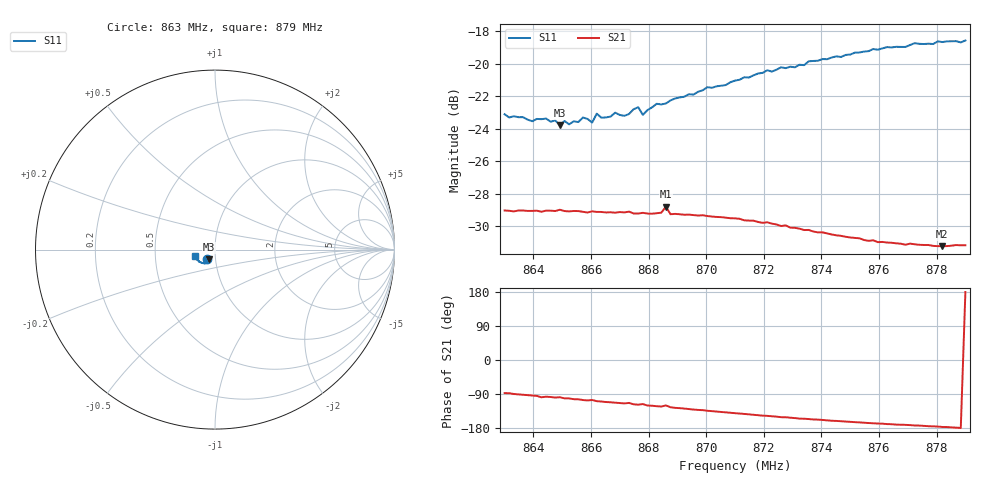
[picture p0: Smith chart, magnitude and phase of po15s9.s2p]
# HZ S RI R 50
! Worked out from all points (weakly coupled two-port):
!   101 points, 863 MHz to 879 MHz, reference 50 ohm
!   highest |S21| = -28.79 dB at 868.6 MHz (marker M1); lowest = -31.2 dB at 878.2 MHz (marker M2)
!   lowest |S11| = -23.8 dB at 864.92 MHz (marker M3), VSWR 1.14, Z = 46.4 - j5.13 ohm
!   |S11| at or under -10 dB: start of sweep to end of sweep
!   S12 and S22 are empty: the file has one direction only
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8.63e8  -0.0445 -0.054  0.00159 -0.0354  0 0  0 0
8.6396e8  -0.0382 -0.0545  -0.00235 -0.0352  0 0  0 0
8.6444e8  -0.0427 -0.0528  -0.00424 -0.0351  0 0  0 0
8.6492e8  -0.0339 -0.055  -0.00514 -0.0352  0 0  0 0
8.6556e8  -0.0346 -0.0564  -0.00829 -0.0342  0 0  0 0
8.6572e8  -0.0365 -0.0578  -0.00947 -0.0338  0 0  0 0
8.6604e8  -0.0321 -0.0576  -0.00946 -0.0339  0 0  0 0
8.662e8  -0.0373 -0.0595  -0.0112 -0.0332  0 0  0 0
8.6636e8  -0.0352 -0.0585  -0.0117 -0.033  0 0  0 0
8.6684e8  -0.0357 -0.061  -0.0134 -0.0321  0 0  0 0
8.6716e8  -0.032 -0.0613  -0.0145 -0.0318  0 0  0 0
8.6764e8  -0.0356 -0.0643  -0.0161 -0.0306  0 0  0 0
8.678e8  -0.0317 -0.062  -0.0155 -0.0312  0 0  0 0
8.6828e8  -0.0359 -0.0662  -0.0183 -0.0295  0 0  0 0
8.6844e8  -0.0358 -0.0659  -0.0189 -0.0293  0 0  0 0
8.686e8  -0.0298 -0.0694  -0.0181 -0.0315  0 0  0 0
8.6876e8  -0.0365 -0.068  -0.0196 -0.0283  0 0  0 0
8.71e8  -0.0484 -0.0744  -0.0258 -0.0214  0 0  0 0
8.7372e8  -0.0685 -0.0756  -0.0281 -0.012  0 0  0 0
8.7644e8  -0.0931 -0.0627  -0.0277 -0.00515  0 0  0 0
8.782e8  -0.1068 -0.0469  -0.0274 -0.00155  0 0  0 0
8.79e8  -0.1117 -0.0379  -0.0277 0.000271  0 0  0 0
